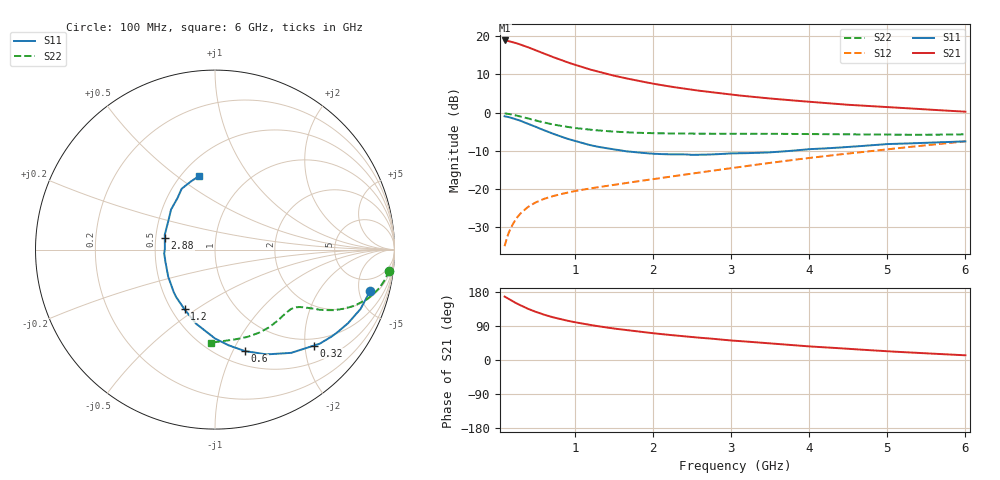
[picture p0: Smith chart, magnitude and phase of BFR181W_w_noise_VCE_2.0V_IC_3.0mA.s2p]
! Infineon Technologies  Discrete & RF Semiconductors
! BFR181W
! VCE =  2.0 V,  IC =  3.0 mA
! Common Emitter S-Parameters:  Nov 2015
# GHz  S  MA  R  50
!  f  S11  S21  S12  S22
! GHz  MAG  ANG  MAG  ANG  MAG  ANG  MAG  ANG
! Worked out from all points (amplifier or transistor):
!   192 points, 100 MHz to 6 GHz, reference 50 ohm
!   highest |S21| = 18.9 dB at 100 MHz (marker M1)
!   |S21| within 3 dB of that: start of sweep to 550.6 MHz
!   unconditionally stable (mu >= 1): 1.728 GHz to 3.39 GHz
!   at 440 MHz: K = 0.38, MSG = 20.5 dB, |S12| = -24.3 dB
!   at 1.7 GHz: K = 0.99, MSG = 13.6 dB, |S12| = -18.3 dB
!   at 6 GHz: K = 0.79, MSG = 3.9 dB, |S12| = -7.5 dB
!   lowest NFmin = 1.40 dB at 450 MHz
!   S11 on the Smith chart (normalised r, x): 100 MHz: 2.77, -6.43; 320 MHz: 0.84, -2.20; 600 MHz: 0.64, -1.12; 1.2 GHz: 0.58, -0.45; 2.88 GHz: 0.56, +0.08; 6 GHz: 0.61, +0.61
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0.1  0.8947 -15.0  8.838 167.4  0.0177 81.3  0.9785 -6.9
0.15  0.8756 -22.2  8.671 161.1  0.0262 77.6  0.962 -10.0
0.2  0.8474 -28.9  8.434 155.4  0.0336 74.2  0.9413 -13.0
0.26  0.8098 -36.8  8.088 148.8  0.0421 70.2  0.9109 -16.2
0.32  0.7682 -44.1  7.693 142.9  0.0492 66.7  0.8799 -18.8
0.4  0.7148 -53.6  7.207 135.0  0.0579 63.0  0.8369 -22.0
0.5  0.6507 -63.8  6.562 127.0  0.0665 59.3  0.7866 -24.8
0.6  0.59 -73.5  5.982 119.9  0.0736 56.7  0.7431 -27.0
0.7  0.5376 -82.1  5.445 113.7  0.0793 55.0  0.7061 -28.5
0.8  0.4952 -90.0  4.999 108.5  0.0842 54.0  0.6752 -29.8
0.98  0.4317 -102.7  4.309 100.5  0.0926 53.1  0.6327 -31.2
1.1  0.3976 -110.2  3.947 96.2  0.0974 53.0  0.6117 -32.1
1.2  0.3737 -117.0  3.664 92.3  0.1014 53.0  0.5949 -32.8
1.4  0.3419 -129.2  3.232 85.9  0.1088 53.7  0.572 -34.0
1.6  0.316 -139.9  2.894 80.3  0.1169 54.7  0.5561 -35.3
2.08  0.2863 -162.7  2.321 69.1  0.1376 57.5  0.5351 -38.9
2.5  0.2793 179.8  1.989 60.4  0.1583 59.6  0.5291 -42.7
2.88  0.2867 167.3  1.78 53.9  0.1794 60.9  0.5277 -47.0
3.1  0.2925 160.9  1.68 50.1  0.1927 61.3  0.5273 -49.6
4.1  0.335 135.2  1.362 34.7  0.2613 60.7  0.5225 -63.4
5.1  0.389 116.8  1.168 21.9  0.3383 57.3  0.5118 -78.8
6  0.4195 102.0  1.028 12.4  0.4198 52.8  0.5192 -92.6
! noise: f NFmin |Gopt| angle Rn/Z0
0.45  1.4  0.56  17  0.36
0.9  1.5  0.45  35  0.34
1.8  1.85  0.25  82  0.36
